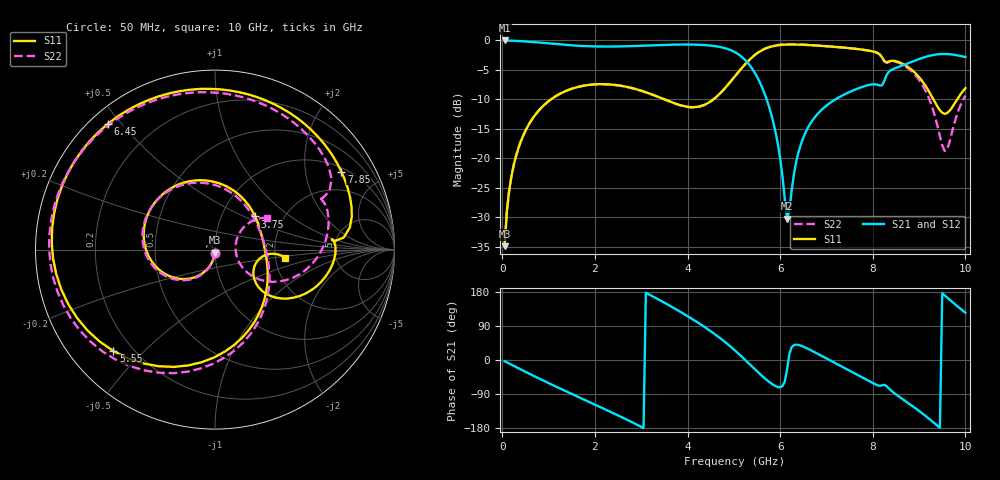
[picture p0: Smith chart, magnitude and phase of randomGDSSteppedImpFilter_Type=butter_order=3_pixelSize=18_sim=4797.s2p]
! freq	dB(S11)	phase(S11)	dB(S12)	phase(S12)
!  dB(S21)	phase(S21)	dB(S22)	phase(S22)
!S-par simulation data
#  GHz  S  DB  R 50
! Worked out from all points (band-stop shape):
!   200 points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, 50 MHz to 10 GHz, reference 50 ohm
!   highest |S21| = -0.01 dB at 50 MHz (marker M1); lowest = -30.2 dB at 6.15 GHz (marker M2)
!   |S21| within 3 dB of the highest: start of sweep to 5.203 GHz; 9.057 GHz to end of sweep
!   lowest |S11| = -34.9 dB at 50 MHz (marker M3), VSWR 1.04, Z = 49.9 - j1.79 ohm
!   |S11| at or under -10 dB: start of sweep to 1.049 GHz; 3.499 GHz to 4.558 GHz (1.058 GHz wide, 26.3 % of centre); 9.309 GHz to 9.824 GHz (514.7 MHz wide, 5.38 % of centre)
!   |S22| runs from -34.9 to -0.6 dB; largest |S21 - S12| = 0
!   S11 on the Smith chart (normalised r, x): 50 MHz: 1.00, -0.04; 3.75 GHz: 1.44, +0.58; 5.55 GHz: 0.13, -0.41; 6.45 GHz: 0.05, +0.46; 7.85 GHz: 1.14, +3.15; 10 GHz: 2.27, -0.24
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0.05  -34.89 -93.1  -0.01 -3.2  -0.01 -3.2  -34.90 -92.9
0.2  -22.93 -103.0  -0.04 -12.6  -0.04 -12.6  -22.93 -102.5
0.5  -15.33 -122.3  -0.17 -31.1  -0.17 -31.1  -15.32 -120.8
1.1  -9.72 -158.9  -0.58 -66.8  -0.58 -66.8  -9.72 -155.8
1.75  -7.69 163.3  -0.95 -103.6  -0.95 -103.6  -7.69 168.4
2.7  -7.90 107.6  -0.99 -158.0  -0.99 -158.0  -7.90 115.9
3.4  -9.68 63.2  -0.78 158.0  -0.78 158.0  -9.69 73.0
3.75  -10.75 39.6  -0.71 134.0  -0.71 134.0  -10.77 49.0
4.45  -10.58 -12.7  -0.84 80.2  -0.84 80.2  -10.61 -7.9
5.05  -5.83 -72.4  -2.11 22.4  -2.11 22.4  -5.79 -67.8
5.55  -1.94 -135.0  -6.93 -35.5  -6.93 -35.5  -1.89 -126.3
5.9  -0.88 -176.9  -15.54 -68.8  -15.54 -68.8  -0.84 -164.9
6.15  -0.69 157.2  -30.21 -24.2  -30.21 -24.2  -0.65 171.5
6.45  -0.72 130.3  -17.55 37.7  -17.55 37.7  -0.69 147.0
6.7  -0.82 110.3  -13.54 23.4  -13.54 23.4  -0.81 128.8
7.25  -1.13 71.1  -9.74 -12.0  -9.74 -12.0  -1.13 92.5
7.85  -1.65 31.6  -7.69 -50.9  -7.69 -50.9  -1.66 54.2
8.35  -3.56 4.1  -5.27 -75.4  -5.27 -75.4  -3.67 25.5
8.9  -5.40 -28.8  -3.45 -125.3  -3.45 -125.3  -5.72 -12.7
9.35  -10.58 -39.4  -2.41 -168.6  -2.41 -168.6  -13.08 -35.5
9.6  -12.35 -17.2  -2.30 165.3  -2.30 165.3  -18.59 12.7
10  -8.10 -6.6  -2.82 124.8  -2.82 124.8  -9.36 31.4
